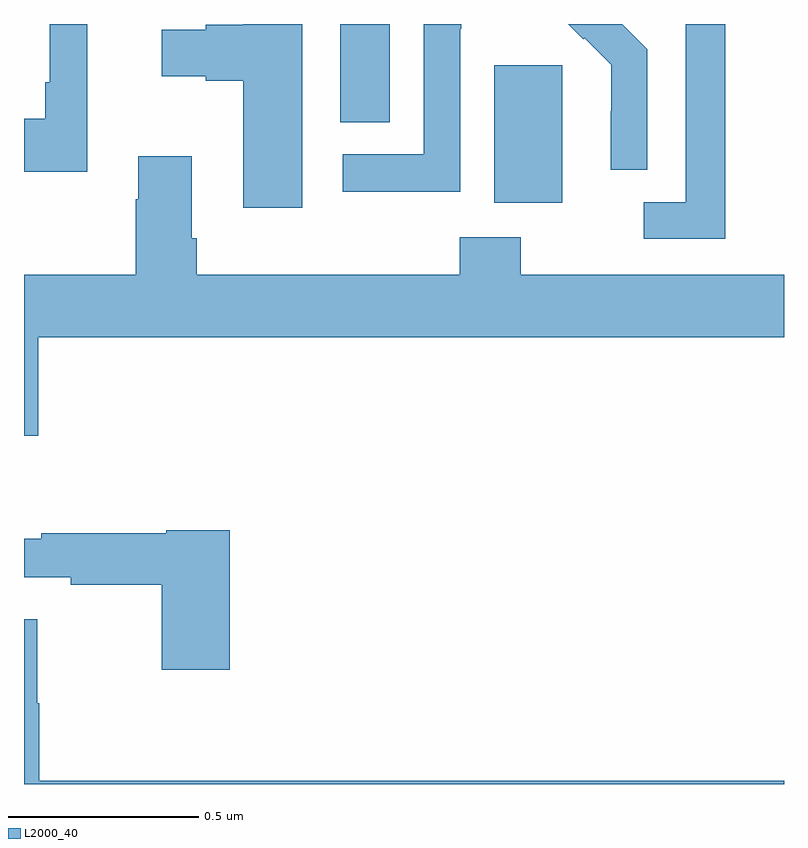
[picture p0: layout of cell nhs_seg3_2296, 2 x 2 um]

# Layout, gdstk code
import gdstk
lib = gdstk.Library(unit=1e-6, precision=1e-09)
def R(c, l, rs):  # rectangles x0, y0, x1, y1
    for r in rs: c.add(gdstk.rectangle(r[:2], r[2:], *l))
def P(c, l, *ps):  # polygons
    for p in ps: c.add(gdstk.Polygon(p, *l))
L2000_40 = (2000, 40)

nhs_seg3_2296 = lib.new_cell('nhs_seg3_2296')
R(nhs_seg3_2296, L2000_40, [(140.237,707.93,140.416,708.291), (139.832,708.142,139.963,708.4)])
P(nhs_seg3_2296, L2000_40, [(139.732,708.4),(139.577,708.4),(139.577,708.398),(139.478,708.398),(139.478,708.385),(139.362,708.385),(139.362,708.263),(139.478,708.263),(139.478,708.251),(139.577,708.251),(139.577,707.916),(139.732,707.916)],
  [(140.148,708.388),(140.151,708.388),(140.151,708.4),(140.052,708.4),(140.052,708.057),(139.839,708.057),(139.839,707.959),(140.148,707.959)],
  [(140.64,708.334),(140.574,708.4),(140.432,708.4),(140.472,708.36),(140.475,708.363),(140.546,708.293),(140.546,708.17),(140.544,708.17),(140.544,708.016),(140.64,708.016)],
  [(140.845,708.4),(140.741,708.4),(140.741,707.931),(140.631,707.931),(140.631,707.835),(140.845,707.835)],
  [(139.166,708.4),(139.068,708.4),(139.068,708.247),(139.056,708.247),(139.056,708.151),(139,708.151),(139,708.011),(139.166,708.011)],
  [(139.037,707.576),(141,707.576),(141,707.74),(140.307,707.74),(140.307,707.839),(140.147,707.839),(140.147,707.74),(139.454,707.74),(139.454,707.836),(139.441,707.836),(139.441,708.052),(139.301,708.052),(139.301,707.939),(139.294,707.939),(139.294,707.74),(139,707.74),(139,707.316),(139.037,707.316)],
  [(139.541,707.068),(139.374,707.068),(139.374,707.06),(139.046,707.06),(139.046,707.045),(139,707.045),(139,706.944),(139.123,706.944),(139.123,706.924),(139.363,706.924),(139.363,706.701),(139.541,706.701)],
  [(141,706.408),(139.04,706.408),(139.04,706.613),(139.035,706.613),(139.035,706.834),(139,706.834),(139,706.4),(141,706.4)])

lib.write_gds('nhs_seg3_2296.gds')
